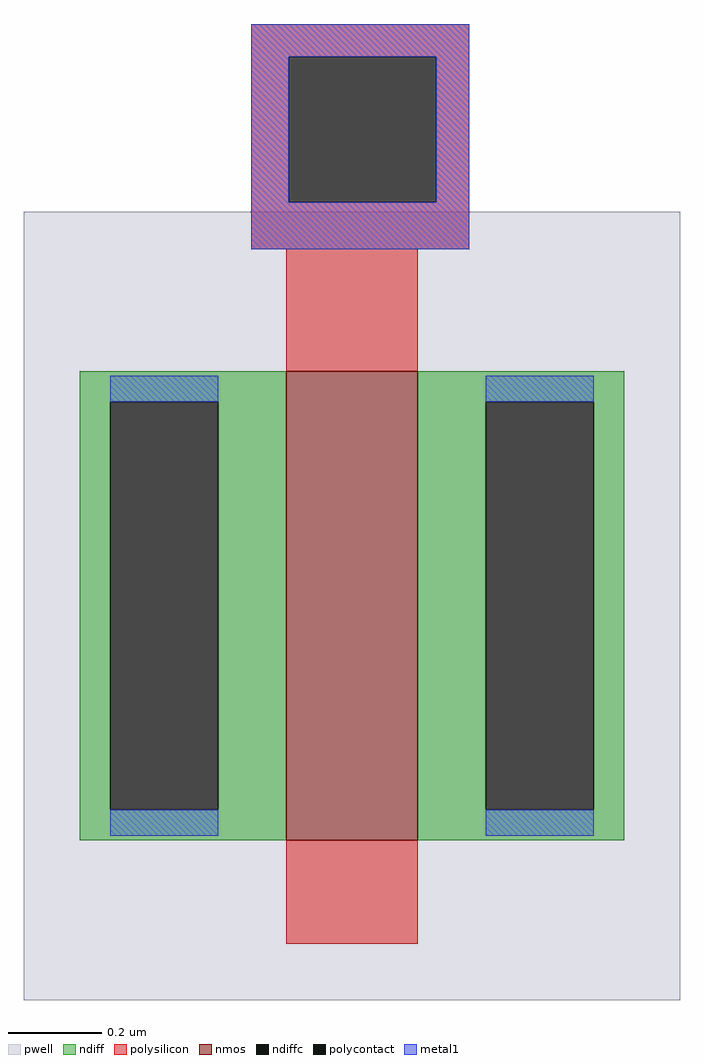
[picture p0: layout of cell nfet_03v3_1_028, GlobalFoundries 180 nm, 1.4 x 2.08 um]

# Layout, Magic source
magic
tech gf180mcuD
magscale 1 10
<< polysilicon >>
rect 97 402 190 416
rect 97 340 113 402
rect 176 340 190 402
rect 97 320 190 340
rect 112 307 168 320
<< polycontact >>
rect 113 340 176 402
<< metal1 >>
rect 97 402 190 416
rect 97 340 113 402
rect 176 340 190 402
rect 97 320 190 340
use nfet_03v3_6NV985  nfet_03v3_6NV985_0
transform 1 0 140 0 1 168
box -140 -168 140 168
<< end >>

# cell nfet_03v3_6NV985: kit device nfet_03v3, w 1 l 0.280 m 1 nf 1 diffcov 100 polycov 100 guard 0 glc 0 grc 0 gtc 0 gbc 0 tbcov 100 rlcov 100 topc 0 botc 0 poverlap 0 doverlap 1 lmin 0.28 wmin 0.22 class mosfet full_metal 0 compatible {nfet_03v3 nfet_06v0 nfet_06v0_nvt}
